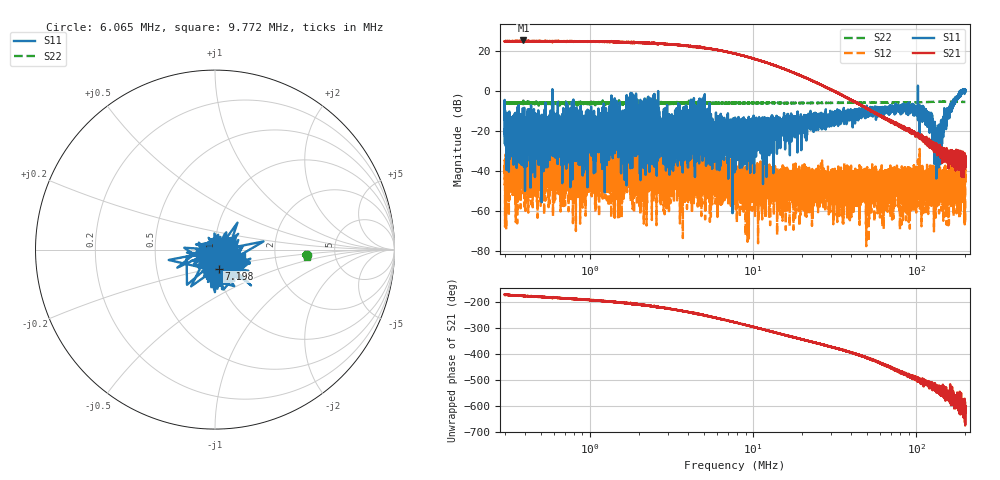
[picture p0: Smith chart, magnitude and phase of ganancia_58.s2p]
# Hz S DB R 50
! CMT, M5065, 19127446, 24.2.4/2
! Date: 11/1/2024 4:49:51 PM
! Data: Format (Calibration Info)
! Freq	S11:dB/Ang(F2)	S21:dB/Ang(F2)	S12:dB/Ang(F2)	S22:dB/Ang(F2)
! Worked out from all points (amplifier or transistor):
!   9000 points, 300 kHz to 200 MHz, reference 50 ohm
!   highest |S21| = 25.4 dB at 391.4 kHz (marker M1)
!   |S21| within 3 dB of that: start of sweep to 4.018 MHz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
!   unconditionally stable (mu >= 1): 5.063 MHz to 102.3 MHz; 102.4 MHz to 184.6 MHz; 184.8 MHz to 188.5 MHz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
!   at 886.8 kHz: K = 2.69, MAG = 26.5 dB, |S12| = -42.5 dB
!   at 7.749 MHz: K = 18.19, MAG = 20.3 dB, |S12| = -53.0 dB
!   at 200 MHz: K = 114.14, MAG = -21.8 dB, |S12| = -40.2 dB
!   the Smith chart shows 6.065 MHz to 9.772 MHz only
!   S11 on the Smith chart (normalised r, x): 6.065 MHz: 0.90, -0.02; 7.198 MHz: 1.02, -0.22; 9.772 MHz: 1.35, -0.09
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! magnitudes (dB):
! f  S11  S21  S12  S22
! 300 kHz  -14.0  25.0  -41.2  -5.9
! 315.1 kHz  -29.8  25.1  -42.4  -5.7
! 391.4 kHz  -33.4  25.4  -38.1  -4.7
! 886.8 kHz  -11.3  24.8  -42.5  -5.7
! 1.35 MHz  -21.1  24.7  -50.8  -5.9
! 1.445 MHz  -22.3  24.6  -48.3  -6.0
! 1.589 MHz  -20.9  24.6  -28.6  -6.8
! 2.31 MHz  -18.9  24.1  -39.8  -5.8
! 2.621 MHz  -18.7  23.8  -43.1  -5.7
! 3.042 MHz  -25.1  23.5  -39.5  -5.8
! 4.254 MHz  -27.2  22.4  -34.6  -6.2
! 6.065 MHz  -25.1  20.6  -41.8  -5.8
! 7.198 MHz  -19.2  19.5  -42.2  -5.8
! 7.749 MHz  -13.1  18.8  -53.0  -5.9
! 9.772 MHz  -16.3  16.6  -45.0  -5.8
! 22.91 MHz  -12.5  5.5  -43.0  -5.8
! 67.71 MHz  -8.8  -14.3  -39.8  -5.6
! 111.3 MHz  -9.8  -24.3  -44.2  -5.4
! 136.4 MHz  -23.9  -29.2  -46.2  -5.2
! 159.4 MHz  -10.0  -32.2  -42.9  -5.1
! 182.2 MHz  -3.1  -35.0  -47.0  -5.3
! 200 MHz  -0.2  -36.6  -40.2  -5.3
